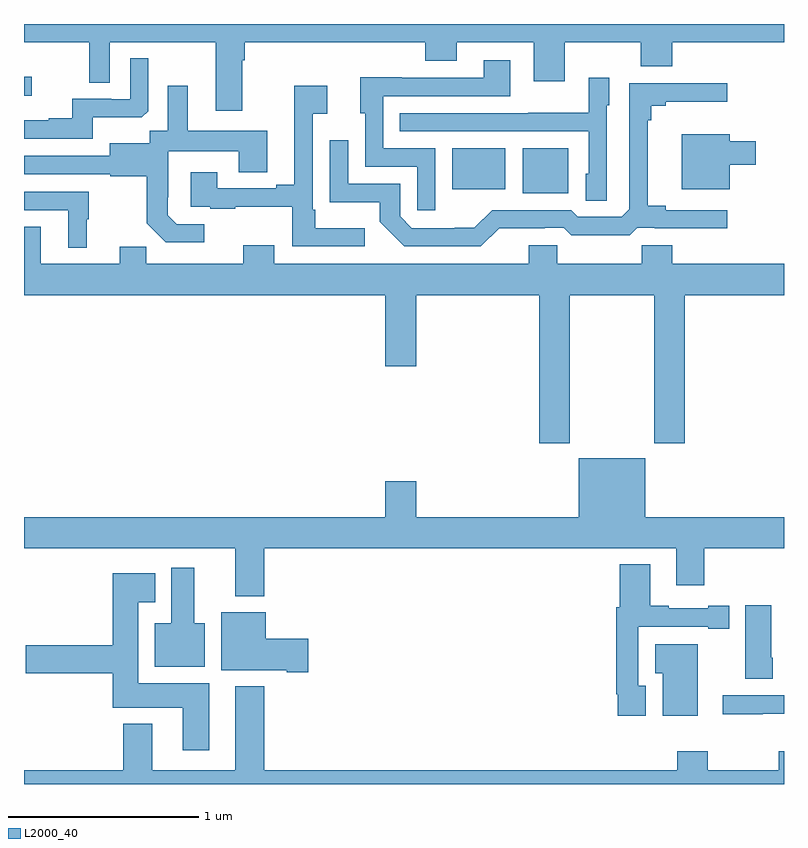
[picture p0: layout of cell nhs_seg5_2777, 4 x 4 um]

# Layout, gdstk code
import gdstk
lib = gdstk.Library(unit=1e-6, precision=1e-09)
def R(c, l, rs):  # rectangles x0, y0, x1, y1
    for r in rs: c.add(gdstk.rectangle(r[:2], r[2:], *l))
def P(c, l, *ps):  # polygons
    for p in ps: c.add(gdstk.Polygon(p, *l))
L2000_40 = (2000, 40)

nhs_seg5_2777 = lib.new_cell('nhs_seg5_2777')
R(nhs_seg5_2777, L2000_40, [(273.626,911.909,273.865,912.145), (273.254,911.93,273.532,912.145), (271,912.422,271.042,912.521)])
P(nhs_seg5_2777, L2000_40, [(272.149,912.608),(272.162,912.608),(272.162,912.704),(273.113,912.704),(273.113,912.605),(273.277,912.605),(273.277,912.704),(273.683,912.704),(273.683,912.498),(273.847,912.498),(273.847,912.704),(274.247,912.704),(274.247,912.576),(274.411,912.576),(274.411,912.704),(275,912.704),(275,912.799),(271,912.799),(271,912.704),(271.344,912.704),(271.344,912.49),(271.452,912.49),(271.452,912.704),(272.009,912.704),(272.009,912.342),(272.149,912.342)],
  [(271.363,912.308),(271.621,912.308),(271.653,912.339),(271.653,912.619),(271.56,912.619),(271.56,912.402),(271.46,912.402),(271.46,912.405),(271.253,912.405),(271.253,912.304),(271.129,912.304),(271.129,912.292),(271,912.292),(271,912.195),(271.363,912.195)],
  [(273.165,912.144),(272.892,912.144),(272.892,912.42),(273.559,912.42),(273.559,912.607),(273.419,912.607),(273.419,912.516),(272.989,912.516),(272.989,912.518),(272.771,912.518),(272.771,912.33),(272.796,912.33),(272.796,912.048),(273.069,912.048),(273.069,911.82),(273.165,911.82)],
  [(274.068,912.372),(274.081,912.372),(274.081,912.517),(273.972,912.517),(273.972,912.331),(273.655,912.331),(273.655,912.33),(272.977,912.33),(272.977,912.234),(273.972,912.234),(273.972,912.012),(273.956,912.012),(273.956,911.869),(274.068,911.869)],
  [(273.5,911.723),(273.74,911.723),(273.74,911.727),(273.84,911.727),(273.88,911.688),(274.187,911.688),(274.227,911.727),(274.321,911.727),(274.321,911.723),(274.702,911.723),(274.702,911.82),(274.378,911.82),(274.378,911.843),(274.283,911.843),(274.283,912.293),(274.301,912.293),(274.301,912.37),(274.378,912.37),(274.378,912.389),(274.702,912.389),(274.702,912.486),(274.185,912.486),(274.185,911.823),(274.146,911.784),(273.915,911.784),(273.879,911.82),(273.465,911.82),(273.371,911.726),(273.266,911.726),(273.266,911.724),(273.042,911.724),(272.979,911.787),(272.979,911.958),(272.706,911.958),(272.706,912.187),(272.61,912.187),(272.61,911.861),(272.872,911.861),(272.872,911.759),(273.002,911.628),(273.405,911.628)],
  [(271.948,911.745),(271.803,911.745),(271.756,911.792),(271.756,911.887),(271.758,911.887),(271.758,912.128),(272.129,912.128),(272.129,912.019),(272.281,912.019),(272.281,912.238),(271.861,912.238),(271.861,912.475),(271.757,912.475),(271.757,912.236),(271.662,912.236),(271.662,912.172),(271.451,912.172),(271.451,912.105),(271,912.105),(271,912.009),(271.455,912.009),(271.455,911.997),(271.647,911.997),(271.647,911.751),(271.747,911.651),(271.948,911.651)],
  [(272.794,911.725),(272.533,911.725),(272.533,911.821),(272.52,911.821),(272.52,912.326),(272.596,912.326),(272.596,912.475),(272.423,912.475),(272.423,911.953),(272.327,911.953),(272.327,911.934),(272.017,911.934),(272.017,912.019),(271.877,912.019),(271.877,911.838),(271.981,911.838),(271.981,911.826),(272.113,911.826),(272.113,911.837),(272.412,911.837),(272.412,911.628),(272.794,911.628)],
  [(274.714,912.059),(274.852,912.059),(274.852,912.181),(274.714,912.181),(274.714,912.22),(274.463,912.22),(274.463,911.93),(274.714,911.93)],
  [(271.33,911.772),(271.342,911.772),(271.342,911.916),(271,911.916),(271,911.82),(271.232,911.82),(271.232,911.621),(271.33,911.621)],
  [(273.873,911.372),(274.318,911.372),(274.318,910.593),(274.478,910.593),(274.478,911.372),(275,911.372),(275,911.536),(274.412,911.536),(274.412,911.634),(274.252,911.634),(274.252,911.536),(273.807,911.536),(273.807,911.634),(273.656,911.634),(273.656,911.536),(272.317,911.536),(272.317,911.635),(272.153,911.635),(272.153,911.536),(271.643,911.536),(271.643,911.627),(271.505,911.627),(271.505,911.536),(271.087,911.536),(271.087,911.731),(271,911.731),(271,911.372),(272.9,911.372),(272.9,910.998),(273.064,910.998),(273.064,911.372),(273.713,911.372),(273.713,910.593),(273.873,910.593)],
  [(272.264,910.04),(274.433,910.04),(274.433,909.846),(274.581,909.846),(274.581,910.04),(275,910.04),(275,910.204),(274.27,910.204),(274.27,910.513),(273.92,910.513),(273.92,910.204),(273.064,910.204),(273.064,910.393),(272.9,910.393),(272.9,910.204),(271,910.204),(271,910.04),(272.111,910.04),(272.111,909.788),(272.264,909.788)],
  [(274.273,909.315),(274.233,909.315),(274.233,909.627),(274.601,909.627),(274.601,909.615),(274.711,909.615),(274.711,909.736),(274.601,909.736),(274.601,909.723),(274.393,909.723),(274.393,909.736),(274.297,909.736),(274.297,909.955),(274.136,909.955),(274.136,909.73),(274.117,909.73),(274.117,909.271),(274.125,909.271),(274.125,909.159),(274.273,909.159)],
  [(271.951,909.646),(271.897,909.646),(271.897,909.937),(271.775,909.937),(271.775,909.646),(271.688,909.646),(271.688,909.416),(271.951,909.416)],
  [(271.975,909.328),(271.6,909.328),(271.6,909.755),(271.69,909.755),(271.69,909.907),(271.466,909.907),(271.466,909.53),(271.008,909.53),(271.008,909.383),(271.466,909.383),(271.466,909.2),(271.835,909.2),(271.835,908.976),(271.975,908.976)],
  [(274.941,909.463),(274.933,909.463),(274.933,909.739),(274.796,909.739),(274.796,909.352),(274.941,909.352)],
  [(272.497,909.564),(272.272,909.564),(272.272,909.703),(272.039,909.703),(272.039,909.398),(272.384,909.398),(272.384,909.386),(272.497,909.386)],
  [(274.546,909.535),(274.322,909.535),(274.322,909.383),(274.361,909.383),(274.361,909.158),(274.546,909.158)],
  [(275,908.971),(274.972,908.971),(274.972,908.872),(274.599,908.872),(274.599,908.971),(274.439,908.971),(274.439,908.872),(272.264,908.872),(272.264,909.313),(272.111,909.313),(272.111,908.872),(271.675,908.872),(271.675,909.115),(271.523,909.115),(271.523,908.872),(271,908.872),(271,908.799),(275,908.799)],
  [(274.889,909.17),(275,909.17),(275,909.267),(274.677,909.267),(274.677,909.166),(274.889,909.166)])

lib.write_gds('nhs_seg5_2777.gds')
